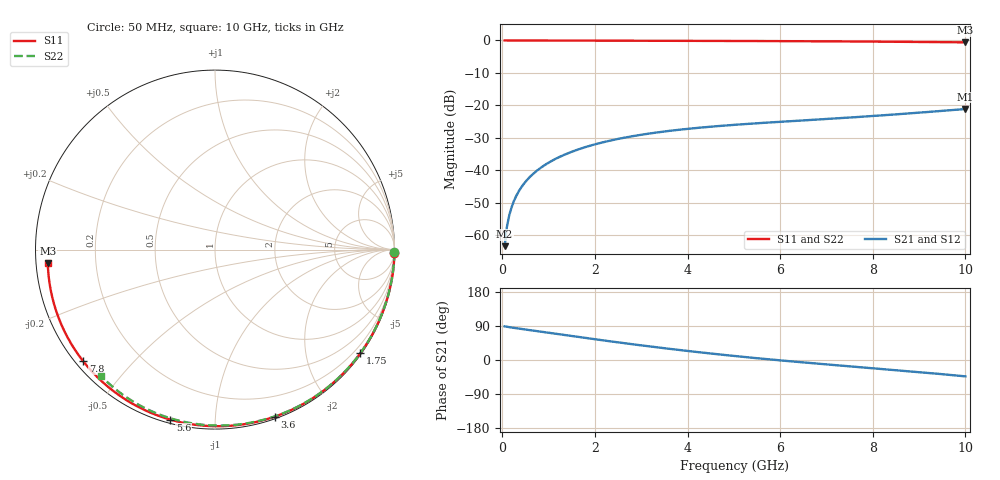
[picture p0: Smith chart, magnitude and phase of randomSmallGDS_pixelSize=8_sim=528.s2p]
! freq	dB(S11)	phase(S11)	dB(S12)	phase(S12)
!  dB(S21)	phase(S21)	dB(S22)	phase(S22)
!S-par simulation data
#  GHz  S  DB  R 50
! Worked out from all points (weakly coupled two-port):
!   200 points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, 50 MHz to 10 GHz, reference 50 ohm
!   highest |S21| = -21.10 dB at 10 GHz (marker M1); lowest = -63.3 dB at 50 MHz (marker M2)
!   lowest |S11| = -0.6 dB at 10 GHz (marker M3), VSWR 29.66, Z = 1.69 - j2.05 ohm
!   |S11| at or under -10 dB: nowhere
!   |S22| runs from -0.5 to 0.0 dB; largest |S21 - S12| = 0
!   S11 on the Smith chart (normalised r, x): 50 MHz: open; 1.75 GHz: 0.03, -3.13; 3.6 GHz: 0.02, -1.42; 5.6 GHz: 0.02, -0.77; 7.8 GHz: 0.02, -0.37; 10 GHz: 0.03, -0.04
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0.05  -0.00 -1.0  -63.29 88.8  -63.29 88.8  -0.00 -0.8
0.1  -0.00 -2.1  -57.29 87.7  -57.29 87.7  -0.00 -1.6
0.15  -0.00 -3.1  -53.80 86.7  -53.80 86.7  -0.00 -2.3
0.2  -0.00 -4.1  -51.33 85.7  -51.33 85.7  -0.00 -3.1
0.25  -0.00 -5.2  -49.42 84.8  -49.42 84.8  -0.00 -3.9
0.35  -0.01 -7.2  -46.54 83.0  -46.54 83.0  -0.00 -5.4
0.5  -0.01 -10.3  -43.49 80.5  -43.49 80.5  -0.01 -7.7
0.7  -0.02 -14.4  -40.62 77.0  -40.62 77.0  -0.01 -10.8
1  -0.03 -20.5  -37.60 71.8  -37.60 71.8  -0.02 -15.4
1.35  -0.04 -27.5  -35.11 65.8  -35.11 65.8  -0.03 -20.7
1.75  -0.05 -35.4  -33.01 58.9  -33.01 58.9  -0.04 -26.7
2.6  -0.07 -51.9  -30.01 44.9  -30.01 44.9  -0.05 -39.2
3.4  -0.09 -66.8  -28.19 32.6  -28.19 32.6  -0.07 -50.7
3.6  -0.10 -70.4  -27.83 29.6  -27.83 29.6  -0.08 -53.5
4.3  -0.12 -82.8  -26.79 19.8  -26.79 19.8  -0.10 -63.2
5.05  -0.15 -95.6  -25.92 10.1  -25.92 10.1  -0.12 -73.2
5.6  -0.18 -104.8  -25.39 3.5  -25.39 3.5  -0.14 -80.3
6.7  -0.25 -122.5  -24.43 -8.4  -24.43 -8.4  -0.19 -94.0
7.8  -0.33 -139.8  -23.44 -19.6  -23.44 -19.6  -0.26 -107.1
8.35  -0.39 -148.4  -22.89 -25.1  -22.89 -25.1  -0.30 -113.4
9.2  -0.48 -162.0  -21.99 -34.1  -21.99 -34.1  -0.38 -123.1
10  -0.59 -175.3  -21.10 -43.2  -21.10 -43.2  -0.47 -132.0
